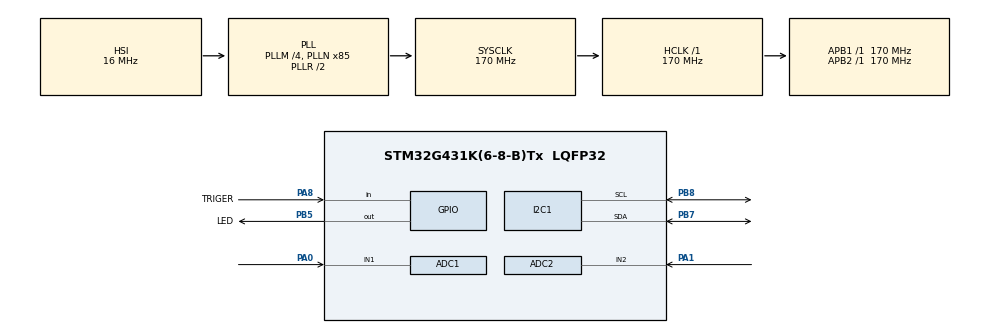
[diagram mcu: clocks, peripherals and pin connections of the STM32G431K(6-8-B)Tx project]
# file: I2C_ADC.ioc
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ADC1.Channel-0\#ChannelRegularConversion=ADC_CHANNEL_1
ADC1.NbrOfConversionFlag=1
ADC1.OffsetNumber-0\#ChannelRegularConversion=ADC_OFFSET_NONE
ADC1.Rank-0\#ChannelRegularConversion=1
ADC1.SamplingTime-0\#ChannelRegularConversion=ADC_SAMPLETIME_2CYCLES_5
ADC1.master=1
ADC2.Channel-0\#ChannelRegularConversion=ADC_CHANNEL_2
ADC2.NbrOfConversionFlag=1
ADC2.OffsetNumber-0\#ChannelRegularConversion=ADC_OFFSET_NONE
ADC2.Rank-0\#ChannelRegularConversion=1
ADC2.SamplingTime-0\#ChannelRegularConversion=ADC_SAMPLETIME_2CYCLES_5
I2C1.OwnAddress=0x28
I2C1.Timing=0x40B285C2
Mcu.Family=STM32G4
Mcu.Name=STM32G431K(6-8-B)Tx
Mcu.Package=LQFP32
NVIC.ADC1_2_IRQn=true\:0\:0\:false\:false\:true\:true\:true\:true
NVIC.I2C1_ER_IRQn=true\:0\:0\:false\:false\:true\:true\:true\:true
NVIC.I2C1_EV_IRQn=true\:0\:0\:false\:false\:true\:true\:true\:true
NVIC.PriorityGroup=NVIC_PRIORITYGROUP_4
NVIC.TIM6_DAC_IRQn=true\:0\:0\:false\:false\:true\:true\:true\:true
PA0.Mode=IN1-Single-Ended
PA0.Signal=ADC1_IN1
PA1.Mode=IN2-Single-Ended
PA1.Signal=ADC2_IN2
PA8.GPIO_Label=TRIGER
PA8.Signal=GPIO_Input
PB5.GPIO_Label=LED
PB5.Signal=GPIO_Output
PB7.Mode=I2C
PB7.Signal=I2C1_SDA
PB8-BOOT0.Mode=I2C
PB8-BOOT0.Signal=I2C1_SCL
ProjectManager.HeapSize=0x200
ProjectManager.StackSize=0x400
ProjectManager.TargetToolchain=STM32CubeIDE
RCC.ADC12Freq_Value=170000000
RCC.AHBFreq_Value=170000000
RCC.APB1Freq_Value=170000000
RCC.APB1TimFreq_Value=170000000
RCC.APB2Freq_Value=170000000
RCC.APB2TimFreq_Value=170000000
RCC.CortexFreq_Value=170000000
RCC.EXTERNAL_CLOCK_VALUE=12288000
RCC.HCLKFreq_Value=170000000
RCC.HSE_VALUE=8000000
RCC.HSI48_VALUE=48000000
RCC.HSI_VALUE=16000000
RCC.LSE_VALUE=32768
RCC.PLLM=RCC_PLLM_DIV4
RCC.PLLN=85
RCC.SYSCLKFreq_VALUE=170000000
RCC.SYSCLKSource=RCC_SYSCLKSOURCE_PLLCLK
RCC.USBFreq_Value=170000000
RCC.VCOOutputFreq_Value=340000000
TIM6.PeriodNoDither=999
TIM6.Prescaler=169
TIM6.TIM_MasterOutputTrigger=TIM_TRGO_UPDATE
VP_SYS_VS_DBSignals.Mode=DisableDeadBatterySignals
VP_TIM6_VS_ClockSourceINT.Mode=Enable_Timer
board=custom

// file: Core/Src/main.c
/* USER CODE BEGIN Header */
/**
  ******************************************************************************
  * @file           : main.c
  * @brief          : Main program body
  ******************************************************************************
  * @attention
  *
  * Copyright (c) 2025 STMicroelectronics.
  * All rights reserved.
  *
  * This software is licensed under terms that can be found in the LICENSE file
  * in the root directory of this software component.
  * If no LICENSE file comes with this software, it is provided AS-IS.
  *
  ******************************************************************************
  */
/* USER CODE END Header */
#include "main.h"

/* USER CODE BEGIN Includes */
#include <string.h>
#include "eeprom_emulation.h"
/* USER CODE END Includes */

/* USER CODE BEGIN PTD */

#define LED_ON()  HAL_GPIO_WritePin(GPIOB, GPIO_PIN_5, GPIO_PIN_RESET)
#define LED_OFF() HAL_GPIO_WritePin(GPIOB, GPIO_PIN_5, GPIO_PIN_SET)

/* USER CODE END PTD */

/* USER CODE BEGIN PD */
#define NUM_SAMPLES 10000
#define ADC_BUFFER_SIZE ((NUM_SAMPLES * 2) + 1) // +1 für CRC8
uint8_t i2c_buffer[ADC_BUFFER_SIZE];
/* USER CODE END PD */

ADC_HandleTypeDef hadc1;
ADC_HandleTypeDef hadc2;

I2C_HandleTypeDef hi2c1;

TIM_HandleTypeDef htim6;

/* USER CODE BEGIN PV */
uint8_t i2c_rx_byte = 0;
uint8_t i2c_buffer[ADC_BUFFER_SIZE];
volatile uint16_t buffer_index = 0;
volatile uint8_t buffer_ready = 0;
volatile uint8_t startSampling = 0;
volatile uint8_t startCalibration1 = 0;
volatile uint8_t startCalibration2 = 0;
volatile uint8_t offset_ch1 = 0;
volatile uint8_t offset_ch2 = 0;

/* USER CODE END PV */

void SystemClock_Config(void);
static void MX_GPIO_Init(void);
static void MX_ADC1_Init(void);
static void MX_ADC2_Init(void);
static void MX_I2C1_Init(void);
static void MX_TIM6_Init(void);

/* USER CODE BEGIN 0 */
uint8_t ComputeAverageADC1(void) {
    uint32_t sum = 0;
    for (int i = 0; i < 100; ++i) {
        HAL_ADC_Start(&hadc1);
        HAL_ADC_PollForConversion(&hadc1, HAL_MAX_DELAY);
        sum += HAL_ADC_GetValue(&hadc1);
    }
    return (uint8_t)(sum / 100);
}

uint8_t ComputeAverageADC2(void) {
    uint32_t sum = 0;
    for (int i = 0; i < 100; ++i) {
        HAL_ADC_Start(&hadc2);
        HAL_ADC_PollForConversion(&hadc2, HAL_MAX_DELAY);
        sum += HAL_ADC_GetValue(&hadc2);
    }
    return (uint8_t)(sum / 100);
}
uint8_t calculate_crc8(uint8_t *data, uint16_t length)
{
    uint8_t crc = 0x00;
    for (uint16_t i = 0; i < length; i++)
    {
        crc ^= data[i];
        for (uint8_t j = 0; j < 8; j++)
        {
            if (crc & 0x80)
                crc = (crc << 1) ^ 0x07;
            else
                crc <<= 1;
        }
    }
    return crc;
}

void HAL_I2C_SlaveRxCpltCallback(I2C_HandleTypeDef *hi2c)
{
    if (hi2c->Instance == I2C1)
    {
        switch (i2c_rx_byte)
        {
            case 0x00:
                HAL_GPIO_WritePin(LED_GPIO_Port, LED_Pin, GPIO_PIN_SET);
                break;
            case 0x01:
                HAL_GPIO_WritePin(LED_GPIO_Port, LED_Pin, GPIO_PIN_RESET);
                break;
            case 0x02:
                if (buffer_ready) {
                    buffer_index = 0;
                    HAL_I2C_Slave_Transmit_IT(&hi2c1, &i2c_buffer[buffer_index], 1);
                }
                return;

            case 0x03:
                startSampling = 1;
                break;
            case 0x04:
                startCalibration1 = 1;
                break;
            case 0x05:
            	offset_ch1 = ComputeAverageADC1();
            	EEPROM_Write(0, offset_ch1);
            	startCalibration1 = 0;
            	LED_OFF();
                break;
            case 0x06:
                startCalibration2 = 1;
                break;
            case 0x07:
            	offset_ch2 = ComputeAverageADC2();
            	EEPROM_Write(1, offset_ch2);
            	startCalibration2 = 0;
            	LED_OFF();
                break;
        }

        // Wieder Empfang aktivieren
        HAL_I2C_Slave_Receive_IT(&hi2c1, &i2c_rx_byte, 1);
    }
}

void HAL_I2C_SlaveTxCpltCallback(I2C_HandleTypeDef *hi2c)
{
    if (hi2c->Instance == I2C1 && buffer_ready)
    {
        buffer_index++;

        if (buffer_index < sizeof(i2c_buffer))
        {
            // Sende nächstes Byte
            HAL_I2C_Slave_Transmit_IT(&hi2c1, &i2c_buffer[buffer_index], 1);
        }
        else
        {
        	// ✅ Alles gesendet → LED AUS
        	LED_OFF();
            // Ende erreicht – zurücksetzen
            buffer_ready = 0;
            HAL_I2C_Slave_Receive_IT(&hi2c1, &i2c_rx_byte, 1);
        }
    }
}

void HAL_I2C_ErrorCallback(I2C_HandleTypeDef *hi2c)
{
  if (hi2c->Instance == I2C1)
  {
    LED_OFF(); // Fehler = LED an
  }
}

void HAL_TIM_PeriodElapsedCallback(TIM_HandleTypeDef *htim)
{
  if (htim->Instance == TIM6 && buffer_index < ADC_BUFFER_SIZE)
  {
    // ✨ Beim allerersten Aufruf: LED AN
    if (buffer_index == 0)
    {
      LED_ON(); // 💡 LED AN
    }

    HAL_ADC_Start(&hadc1);
    HAL_ADC_PollForConversion(&hadc1, HAL_MAX_DELAY);
    uint16_t value1 = HAL_ADC_GetValue(&hadc1);

    HAL_ADC_Start(&hadc2);
    HAL_ADC_PollForConversion(&hadc2, HAL_MAX_DELAY);
    uint16_t value2 = HAL_ADC_GetValue(&hadc2);

    if ((buffer_index + 1) < ADC_BUFFER_SIZE)
    {
    	uint8_t corrected1 = (uint8_t)value1 - offset_ch1;
    	uint8_t corrected2 = (uint8_t)value2 - offset_ch2;
    	i2c_buffer[buffer_index++] = corrected1;
    	i2c_buffer[buffer_index++] = corrected2;
    }

    if (buffer_index >= (ADC_BUFFER_SIZE - 1))
    {
        // 🧠 CRC8 berechnen und anhängen
        uint8_t crc = calculate_crc8(i2c_buffer, buffer_index);
        i2c_buffer[buffer_index++] = crc;

        HAL_TIM_Base_Stop_IT(&htim6);
        buffer_ready = 1;

    }
  }
}

/* USER CODE END 0 */

int main(void)
{
  HAL_Init();
  SystemClock_Config();

  MX_GPIO_Init();
  MX_ADC1_Init();
  MX_ADC2_Init();
  MX_I2C1_Init();
  MX_TIM6_Init();
  EEPROM_Init(); // optional, falls du später etwas vorbereitest

  offset_ch1 = EEPROM_Read(0);
  offset_ch2 = EEPROM_Read(1);

  // 💡 Sicherheitsprüfung für uninitialisierte Werte
  if (offset_ch1 == 0xFF) offset_ch1 = 0;
  if (offset_ch2 == 0xFF) offset_ch2 = 0;
  /* USER CODE BEGIN 2 */
  HAL_I2C_Slave_Receive_IT(&hi2c1, &i2c_rx_byte, 1);
  LED_OFF();
  /* USER CODE END 2 */
  static uint8_t triggered = 0;

  while (1)
  {
      // Trigger über GPIO PA8 auswerten
      if (triggered == 0 && HAL_GPIO_ReadPin(TRIGER_GPIO_Port, TRIGER_Pin) == GPIO_PIN_SET)
      {
          triggered = 1;
          startSampling = 1;
      }

      if (startSampling)
      {
          startSampling = 0;
          buffer_index = 0;
          buffer_ready = 0;
          triggered = 0;

          memset(i2c_buffer, 0, sizeof(i2c_buffer));

          HAL_TIM_Base_Start_IT(&htim6);
      }

      if (!buffer_ready && HAL_I2C_GetState(&hi2c1) == HAL_I2C_STATE_READY)
      {
          HAL_I2C_Slave_Receive_IT(&hi2c1, &i2c_rx_byte, 1);
      }
      if (startCalibration1)
      {
          HAL_ADC_Start(&hadc1);
          HAL_ADC_PollForConversion(&hadc1, HAL_MAX_DELAY);
          uint16_t value1 = HAL_ADC_GetValue(&hadc1);
          uint16_t delay1 = 10 + (value1 * 2);

          LED_ON();     // oder LED1_ON();
          HAL_Delay(delay1);
          LED_OFF();    // oder LED1_OFF();
          HAL_Delay(delay1);
      }

      if (startCalibration2)
      {
          HAL_ADC_Start(&hadc2);
          HAL_ADC_PollForConversion(&hadc2, HAL_MAX_DELAY);
          uint16_t value2 = HAL_ADC_GetValue(&hadc2);
          uint16_t delay2 = 10 + (value2 * 2);

          LED_ON();     // oder LED2_ON(), falls zweite LED vorhanden
          HAL_Delay(delay2);
          LED_OFF();    // oder LED2_OFF();
          HAL_Delay(delay2);
      }
      HAL_Delay(5);
  }
}
    /* USER CODE END WHILE */

void SystemClock_Config(void)
{
  RCC_OscInitTypeDef RCC_OscInitStruct = {0};
  RCC_ClkInitTypeDef RCC_ClkInitStruct = {0};

  /** Configure the main internal regulator output voltage
  */
  HAL_PWREx_ControlVoltageScaling(PWR_REGULATOR_VOLTAGE_SCALE1_BOOST);

  /** Initializes the RCC Oscillators according to the specified parameters
  * in the RCC_OscInitTypeDef structure.
  */
  RCC_OscInitStruct.OscillatorType = RCC_OSCILLATORTYPE_HSI;
  RCC_OscInitStruct.HSIState = RCC_HSI_ON;
  RCC_OscInitStruct.HSICalibrationValue = RCC_HSICALIBRATION_DEFAULT;
  RCC_OscInitStruct.PLL.PLLState = RCC_PLL_ON;
  RCC_OscInitStruct.PLL.PLLSource = RCC_PLLSOURCE_HSI;
  RCC_OscInitStruct.PLL.PLLM = RCC_PLLM_DIV4;
  RCC_OscInitStruct.PLL.PLLN = 85;
  RCC_OscInitStruct.PLL.PLLP = RCC_PLLP_DIV2;
  RCC_OscInitStruct.PLL.PLLQ = RCC_PLLQ_DIV2;
  RCC_OscInitStruct.PLL.PLLR = RCC_PLLR_DIV2;
  if (HAL_RCC_OscConfig(&RCC_OscInitStruct) != HAL_OK)
  {
    Error_Handler();
  }

  /** Initializes the CPU, AHB and APB buses clocks
  */
  RCC_ClkInitStruct.ClockType = RCC_CLOCKTYPE_HCLK|RCC_CLOCKTYPE_SYSCLK
                              |RCC_CLOCKTYPE_PCLK1|RCC_CLOCKTYPE_PCLK2;
  RCC_ClkInitStruct.SYSCLKSource = RCC_SYSCLKSOURCE_PLLCLK;
  RCC_ClkInitStruct.AHBCLKDivider = RCC_SYSCLK_DIV1;
  RCC_ClkInitStruct.APB1CLKDivider = RCC_HCLK_DIV1;
  RCC_ClkInitStruct.APB2CLKDivider = RCC_HCLK_DIV1;

  if (HAL_RCC_ClockConfig(&RCC_ClkInitStruct, FLASH_LATENCY_4) != HAL_OK)
  {
    Error_Handler();
  }
}

static void MX_ADC1_Init(void)
{

  ADC_MultiModeTypeDef multimode = {0};
  ADC_ChannelConfTypeDef sConfig = {0};

  /** Common config
  */
  hadc1.Instance = ADC1;
  hadc1.Init.ClockPrescaler = ADC_CLOCK_SYNC_PCLK_DIV4;
  hadc1.Init.Resolution = ADC_RESOLUTION_8B;
  hadc1.Init.DataAlign = ADC_DATAALIGN_RIGHT;
  hadc1.Init.GainCompensation = 0;
  hadc1.Init.ScanConvMode = ADC_SCAN_DISABLE;
  hadc1.Init.EOCSelection = ADC_EOC_SINGLE_CONV;
  hadc1.Init.LowPowerAutoWait = DISABLE;
  hadc1.Init.ContinuousConvMode = DISABLE;
  hadc1.Init.NbrOfConversion = 1;
  hadc1.Init.DiscontinuousConvMode = DISABLE;
  hadc1.Init.ExternalTrigConv = ADC_SOFTWARE_START;
  hadc1.Init.ExternalTrigConvEdge = ADC_EXTERNALTRIGCONVEDGE_NONE;
  hadc1.Init.DMAContinuousRequests = DISABLE;
  hadc1.Init.Overrun = ADC_OVR_DATA_PRESERVED;
  hadc1.Init.OversamplingMode = DISABLE;
  if (HAL_ADC_Init(&hadc1) != HAL_OK)
  {
    Error_Handler();
  }

  /** Configure the ADC multi-mode
  */
  multimode.Mode = ADC_MODE_INDEPENDENT;
  if (HAL_ADCEx_MultiModeConfigChannel(&hadc1, &multimode) != HAL_OK)
  {
    Error_Handler();
  }

  /** Configure Regular Channel
  */
  sConfig.Channel = ADC_CHANNEL_1;
  sConfig.Rank = ADC_REGULAR_RANK_1;
  sConfig.SamplingTime = ADC_SAMPLETIME_2CYCLES_5;
  sConfig.SingleDiff = ADC_SINGLE_ENDED;
  sConfig.OffsetNumber = ADC_OFFSET_NONE;
  sConfig.Offset = 0;
  if (HAL_ADC_ConfigChannel(&hadc1, &sConfig) != HAL_OK)
  {
    Error_Handler();
  }

}

static void MX_ADC2_Init(void)
{

  ADC_ChannelConfTypeDef sConfig = {0};

  /** Common config
  */
  hadc2.Instance = ADC2;
  hadc2.Init.ClockPrescaler = ADC_CLOCK_SYNC_PCLK_DIV4;
  hadc2.Init.Resolution = ADC_RESOLUTION_8B;
  hadc2.Init.DataAlign = ADC_DATAALIGN_RIGHT;
  hadc2.Init.GainCompensation = 0;
  hadc2.Init.ScanConvMode = ADC_SCAN_DISABLE;
  hadc2.Init.EOCSelection = ADC_EOC_SINGLE_CONV;
  hadc2.Init.LowPowerAutoWait = DISABLE;
  hadc2.Init.ContinuousConvMode = DISABLE;
  hadc2.Init.NbrOfConversion = 1;
  hadc2.Init.DiscontinuousConvMode = DISABLE;
  hadc2.Init.ExternalTrigConv = ADC_SOFTWARE_START;
  hadc2.Init.ExternalTrigConvEdge = ADC_EXTERNALTRIGCONVEDGE_NONE;
  hadc2.Init.DMAContinuousRequests = DISABLE;
  hadc2.Init.Overrun = ADC_OVR_DATA_PRESERVED;
  hadc2.Init.OversamplingMode = DISABLE;
  if (HAL_ADC_Init(&hadc2) != HAL_OK)
  {
    Error_Handler();
  }

  /** Configure Regular Channel
  */
  sConfig.Channel = ADC_CHANNEL_2;
  sConfig.Rank = ADC_REGULAR_RANK_1;
  sConfig.SamplingTime = ADC_SAMPLETIME_2CYCLES_5;
  sConfig.SingleDiff = ADC_SINGLE_ENDED;
  sConfig.OffsetNumber = ADC_OFFSET_NONE;
  sConfig.Offset = 0;
  if (HAL_ADC_ConfigChannel(&hadc2, &sConfig) != HAL_OK)
  {
    Error_Handler();
  }

}

static void MX_I2C1_Init(void)
{

  hi2c1.Instance = I2C1;
  hi2c1.Init.Timing = 0x40B285C2;
  hi2c1.Init.OwnAddress1 = 0x10 << 1;
  hi2c1.Init.AddressingMode = I2C_ADDRESSINGMODE_7BIT;
  hi2c1.Init.DualAddressMode = I2C_DUALADDRESS_DISABLE;
  hi2c1.Init.OwnAddress2 = 0;
  hi2c1.Init.OwnAddress2Masks = I2C_OA2_NOMASK;
  hi2c1.Init.GeneralCallMode = I2C_GENERALCALL_DISABLE;
  hi2c1.Init.NoStretchMode = I2C_NOSTRETCH_DISABLE;

  //JETZT initialisieren – nach dem Setzen aller Parameter!
    HAL_I2C_Init(&hi2c1);

    HAL_I2CEx_ConfigAnalogFilter(&hi2c1, I2C_ANALOGFILTER_ENABLE);
    HAL_I2CEx_ConfigDigitalFilter(&hi2c1, 0);
  /** Configure Analogue filter
  */
  if (HAL_I2CEx_ConfigAnalogFilter(&hi2c1, I2C_ANALOGFILTER_ENABLE) != HAL_OK)
  {
    Error_Handler();
  }

  /** Configure Digital filter
  */
  if (HAL_I2CEx_ConfigDigitalFilter(&hi2c1, 0) != HAL_OK)
  {
    Error_Handler();
  }

}

static void MX_TIM6_Init(void)
{

  TIM_MasterConfigTypeDef sMasterConfig = {0};

  htim6.Instance = TIM6;
  htim6.Init.Prescaler = 169;
  htim6.Init.CounterMode = TIM_COUNTERMODE_UP;
  htim6.Init.Period = 99;         // 1 Takt → alle 100 µs
  htim6.Init.AutoReloadPreload = TIM_AUTORELOAD_PRELOAD_DISABLE;
  if (HAL_TIM_Base_Init(&htim6) != HAL_OK)
  {
    Error_Handler();
  }
  sMasterConfig.MasterOutputTrigger = TIM_TRGO_UPDATE;
  sMasterConfig.MasterSlaveMode = TIM_MASTERSLAVEMODE_DISABLE;
  if (HAL_TIMEx_MasterConfigSynchronization(&htim6, &sMasterConfig) != HAL_OK)
  {
    Error_Handler();
  }

}

static void MX_GPIO_Init(void)
{
  GPIO_InitTypeDef GPIO_InitStruct = {0};

  /* GPIO Ports Clock Enable */
  __HAL_RCC_GPIOA_CLK_ENABLE();
  __HAL_RCC_GPIOB_CLK_ENABLE();

  /*Configure GPIO pin Output Level */
  HAL_GPIO_WritePin(LED_GPIO_Port, LED_Pin, GPIO_PIN_RESET);

  /*Configure GPIO pin : TRIGER_Pin */
  GPIO_InitStruct.Pin = TRIGER_Pin;
  GPIO_InitStruct.Mode = GPIO_MODE_INPUT;
  GPIO_InitStruct.Pull = GPIO_PULLDOWN;
  HAL_GPIO_Init(TRIGER_GPIO_Port, &GPIO_InitStruct);

  /*Configure GPIO pin : LED_Pin */
  GPIO_InitStruct.Pin = LED_Pin;
  GPIO_InitStruct.Mode = GPIO_MODE_OUTPUT_PP;
  GPIO_InitStruct.Pull = GPIO_NOPULL;
  GPIO_InitStruct.Speed = GPIO_SPEED_FREQ_LOW;
  HAL_GPIO_Init(LED_GPIO_Port, &GPIO_InitStruct);

}

void Error_Handler(void)
{
  __disable_irq();
  while (1)
  {
  }
}
